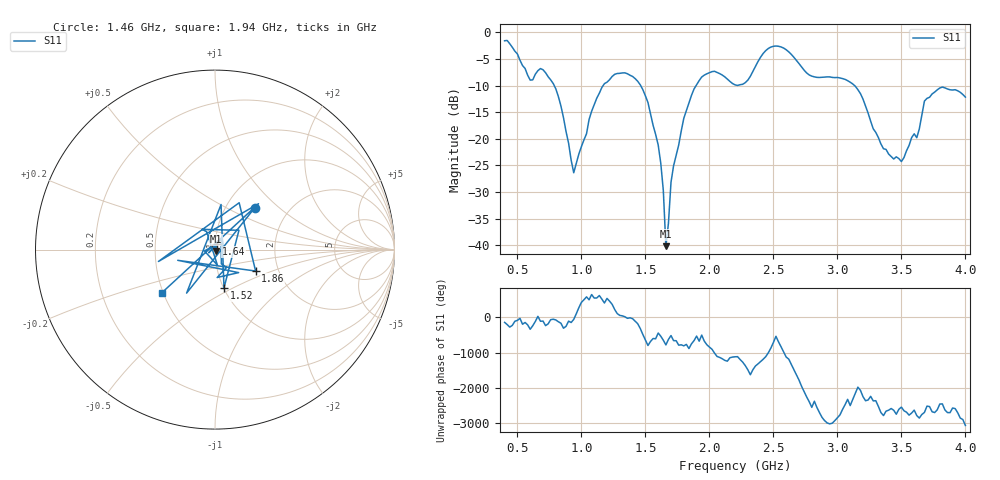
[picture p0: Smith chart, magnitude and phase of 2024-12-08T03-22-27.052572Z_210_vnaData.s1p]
!Created with skrf (http://scikit-rf.org).
# Hz S RI R 50.0
!freq ReS11 ImS11
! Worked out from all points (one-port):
!   181 points, 400 MHz to 4 GHz, reference 50 ohm
!   lowest |S11| = -40.2 dB at 1.66 GHz (marker M1), VSWR 1.02, Z = 50.5 - j0.854 ohm
!   |S11| at or under -10 dB: 787.7 MHz to 1.17 GHz (382.1 MHz wide, 39 % of centre); 1.463 GHz to 1.896 GHz (433 MHz wide, 25.8 % of centre); 3.134 GHz to end of sweep
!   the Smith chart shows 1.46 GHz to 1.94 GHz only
!   S11 on the Smith chart (normalised r, x): 1.46 GHz: 1.36, +0.70; 1.52 GHz: 1.00, -0.45; 1.64 GHz: 1.02, +0.06; 1.86 GHz: 1.52, -0.39; 1.94 GHz: 0.49, -0.28
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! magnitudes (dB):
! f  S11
! 400 MHz  -1.6
! 600 MHz  -9.0
! 720 MHz  -7.6
! 860 MHz  -16.0
! 940 MHz  -26.4
! 1.12 GHz  -12.4
! 1.3 GHz  -7.7
! 1.46 GHz  -9.9
! 1.52 GHz  -13.2
! 1.6 GHz  -21.2
! 1.64 GHz  -29.7
! 1.66 GHz  -40.2
! 1.7 GHz  -28.2
! 1.76 GHz  -21.2
! 1.86 GHz  -11.8
! 1.94 GHz  -8.4
! 2.2 GHz  -9.9
! 2.48 GHz  -2.8
! 2.66 GHz  -4.7
! 2.8 GHz  -8.2
! 3.1 GHz  -9.4
! 3.36 GHz  -21.9
! 3.5 GHz  -24.3
! 3.56 GHz  -21.2
! 3.62 GHz  -19.8
! 3.68 GHz  -12.9
! 3.74 GHz  -11.6
! 4 GHz  -12.2
